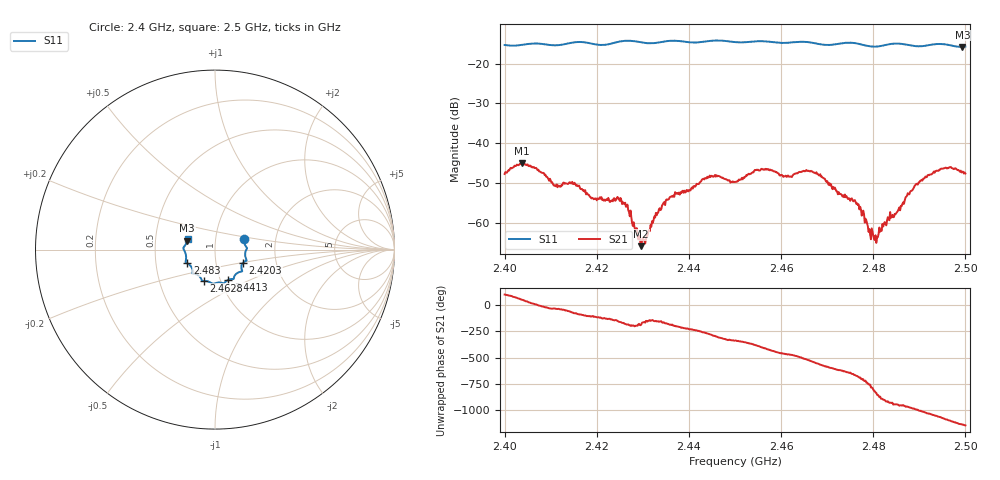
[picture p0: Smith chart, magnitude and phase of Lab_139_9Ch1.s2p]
# Hz S RI R 50
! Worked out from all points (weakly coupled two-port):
!   601 points, 2.4 GHz to 2.5 GHz, reference 50 ohm
!   highest |S21| = -45.07 dB at 2.4037 GHz (marker M1); lowest = -65.9 dB at 2.4297 GHz (marker M2)
!   lowest |S11| = -15.8 dB at 2.4993 GHz (marker M3), VSWR 1.39, Z = 36.5 + j3.73 ohm
!   |S11| at or under -10 dB: start of sweep to end of sweep
!   S12 and S22 are empty: the file has one direction only
!   S11 on the Smith chart (normalised r, x): 2.4 GHz: 1.37, +0.16; 2.4203 GHz: 1.35, -0.21; 2.4413 GHz: 1.09, -0.38; 2.4628 GHz: 0.83, -0.30; 2.483 GHz: 0.72, -0.11; 2.5 GHz: 0.73, +0.09
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2.4e9  0.1611 0.0572  -0.000457 0.00408  0 0  0 0
2.403667e9  0.1702 0.0202  0.00371 0.00416  0 0  0 0
2.411e9  0.1681 -0.0207  0.00239 -0.00174  0 0  0 0
2.416667e9  0.1759 -0.0615  -0.000184 -0.00266  0 0  0 0
2.420333e9  0.1552 -0.0742  -0.000944 -0.00174  0 0  0 0
2.426167e9  0.1518 -0.1197  -0.00179 5.34e-05  0 0  0 0
2.429667e9  0.1356 -0.1249  -0.000507 5.46e-05  0 0  0 0
2.433333e9  0.1081 -0.1485  -0.00124 -0.000535  0 0  0 0
2.441333e9  0.0744 -0.1682  -0.0014 0.00247  0 0  0 0
2.445167e9  0.0518 -0.1869  0.0014 0.00354  0 0  0 0
2.45e9  0.0292 -0.1837  0.00306 0.00116  0 0  0 0
2.456167e9  -0.0128 -0.1902  0.0031 -0.00347  0 0  0 0
2.462833e9  -0.063 -0.1747  -0.00211 -0.00351  0 0  0 0
2.466667e9  -0.0744 -0.1675  -0.00442 -0.000266  0 0  0 0
2.476333e9  -0.1251 -0.1284  0.0012 0.00125  0 0  0 0
2.4805e9  -0.1349 -0.0917  -0.000255 -0.00065  0 0  0 0
2.483e9  -0.1548 -0.0766  -0.00102 0.000315  0 0  0 0
2.483333e9  -0.157 -0.0755  -0.00101 0.000455  0 0  0 0
2.491667e9  -0.1683 -0.0101  0.00238 0.00295  0 0  0 0
2.496333e9  -0.1705 0.0186  0.00471 -0.0012  0 0  0 0
2.499333e9  -0.1544 0.0498  0.00243 -0.00364  0 0  0 0
2.5e9  -0.1528 0.0585  0.00185 -0.00373  0 0  0 0
